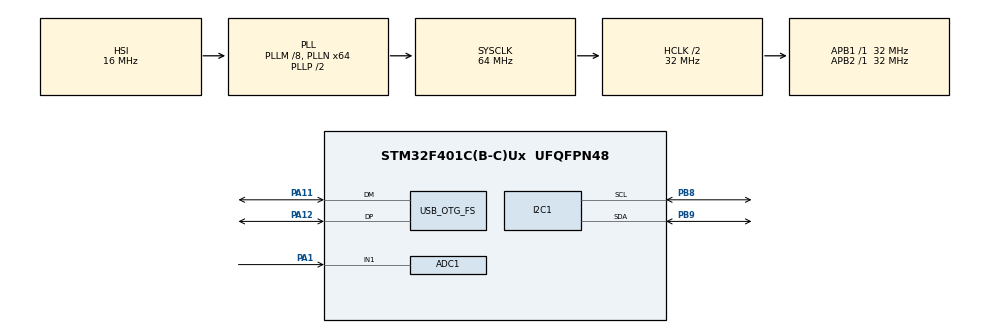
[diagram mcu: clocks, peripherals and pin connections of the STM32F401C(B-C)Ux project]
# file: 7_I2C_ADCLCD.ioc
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ADC1.Channel-0\#ChannelRegularConversion=ADC_CHANNEL_1
ADC1.NbrOfConversionFlag=1
ADC1.Rank-0\#ChannelRegularConversion=1
ADC1.SamplingTime-0\#ChannelRegularConversion=ADC_SAMPLETIME_3CYCLES
ADC1.master=1
Mcu.Family=STM32F4
Mcu.Name=STM32F401C(B-C)Ux
Mcu.Package=UFQFPN48
NVIC.OTG_FS_IRQn=true\:0\:0\:false\:false\:true\:false\:true
NVIC.PriorityGroup=NVIC_PRIORITYGROUP_4
PA1.Signal=ADCx_IN1
PA11.Mode=Device_Only
PA11.Signal=USB_OTG_FS_DM
PA12.Mode=Device_Only
PA12.Signal=USB_OTG_FS_DP
PA13.Mode=Serial_Wire
PA13.Signal=SYS_JTMS-SWDIO
PA14.Mode=Serial_Wire
PA14.Signal=SYS_JTCK-SWCLK
PB8.Mode=I2C
PB8.Signal=I2C1_SCL
PB9.Mode=I2C
PB9.Signal=I2C1_SDA
PH0\ -\ OSC_IN.Mode=HSE-External-Oscillator
PH0\ -\ OSC_IN.Signal=RCC_OSC_IN
PH1\ -\ OSC_OUT.Mode=HSE-External-Oscillator
PH1\ -\ OSC_OUT.Signal=RCC_OSC_OUT
ProjectManager.HeapSize=0x200
ProjectManager.StackSize=0x400
ProjectManager.TargetToolchain=STM32CubeIDE
RCC.48MHZClocksFreq_Value=32000000
RCC.AHBCLKDivider=RCC_SYSCLK_DIV2
RCC.AHBFreq_Value=32000000
RCC.APB1Freq_Value=32000000
RCC.APB1TimFreq_Value=32000000
RCC.APB2Freq_Value=32000000
RCC.APB2TimFreq_Value=32000000
RCC.CortexFreq_Value=32000000
RCC.HCLKFreq_Value=32000000
RCC.HSE_VALUE=25000000
RCC.HSI_VALUE=16000000
RCC.LSE_VALUE=32768
RCC.PLLM=8
RCC.PLLN=64
RCC.PLLSourceVirtualString=RCC_PLLSOURCE_HSI
RCC.SYSCLKFreq_VALUE=64000000
RCC.SYSCLKSource=RCC_SYSCLKSOURCE_PLLCLK
RCC.VCOOutputFreq_Value=128000000
SH.ADCx_IN1.0=ADC1_IN1,IN1
USB_DEVICE.CLASS_NAME_FS=CDC
USB_DEVICE.VirtualMode=Cdc
USB_DEVICE.VirtualModeFS=Cdc_FS
USB_OTG_FS.VirtualMode=Device_Only
VP_ADC1_TempSens_Input.Mode=IN-TempSens
VP_USB_DEVICE_VS_USB_DEVICE_CDC_FS.Mode=CDC_FS
board=custom

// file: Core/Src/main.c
/* USER CODE BEGIN Header */
/**
  ******************************************************************************
  * @file           : main.c
  * @brief          : Main program body
  ******************************************************************************
  * @attention
  *
  * Copyright (c) 2022 STMicroelectronics.
  * All rights reserved.
  *
  * This software is licensed under terms that can be found in the LICENSE file
  * in the root directory of this software component.
  * If no LICENSE file comes with this software, it is provided AS-IS.
  *
  ******************************************************************************
  */
/* USER CODE END Header */
#include "main.h"
#include "adc.h"
#include "i2c.h"
#include "usb_device.h"
#include "gpio.h"

/* USER CODE BEGIN Includes */
#include "liquidcrystal_i2c.h"
#include <stdlib.h>
/* USER CODE END Includes */

/* USER CODE BEGIN PV */
char MSG[20];
uint16_t rawValue;
float Temp;
char strTemp[4] = {0, };
uint8_t sFlag = RESET;
int oldLen = 0;
/* USER CODE END PV */

void SystemClock_Config(void);

/* USER CODE BEGIN 0 */
void HAL_IncTick(void)
{
	uwTick += uwTickFreq;

	if ((uwTick % 1000) == 0) {
		sFlag = SET;
	}
}
/* USER CODE END 0 */

int main(void)
{

  /* MCU Configuration--------------------------------------------------------*/

  /* Reset of all peripherals, Initializes the Flash interface and the Systick. */
  HAL_Init();

  /* Configure the system clock */
  SystemClock_Config();

  /* Initialize all configured peripherals */
  MX_GPIO_Init();
  MX_ADC1_Init();
  MX_I2C1_Init();
  MX_USB_DEVICE_Init();
  /* USER CODE BEGIN 2 */
  LCD_Init();

  LCD_SetCursor(0, 0);
  /* USER CODE END 2 */

  /* Infinite loop */
  /* USER CODE BEGIN WHILE */
  while (1)
  {
	  HAL_ADC_Start(&hadc1);
	  HAL_ADC_PollForConversion(&hadc1, HAL_MAX_DELAY);

	  rawValue = HAL_ADC_GetValue(&hadc1);
	  Temp = (float)rawValue / 4095 * 3300;
	  Temp = ((Temp - 760.0) / 2.5) + 25;
	  itoa((int)Temp, strTemp, 10);
	  if (strlen(strTemp) == 3 && oldLen != strlen(strTemp)) LCD_Clear();
	  LCD_Puts(0, 0, strTemp);
	  oldLen = strlen(strTemp);
	  HAL_Delay(100);

	  if (sFlag) {
		  sFlag = RESET;
		  while (CDC_Transmit_FS((uint8_t *)MSG, strlen(MSG)) == USBD_OK) {}
	  }
    /* USER CODE END WHILE */

    /* USER CODE BEGIN 3 */
	  __NOP();
  }
  /* USER CODE END 3 */
}

void SystemClock_Config(void)
{
  RCC_OscInitTypeDef RCC_OscInitStruct = {0};
  RCC_ClkInitTypeDef RCC_ClkInitStruct = {0};

  /** Configure the main internal regulator output voltage
  */
  __HAL_RCC_PWR_CLK_ENABLE();
  __HAL_PWR_VOLTAGESCALING_CONFIG(PWR_REGULATOR_VOLTAGE_SCALE2);
  /** Initializes the RCC Oscillators according to the specified parameters
  * in the RCC_OscInitTypeDef structure.
  */
  RCC_OscInitStruct.OscillatorType = RCC_OSCILLATORTYPE_HSI;
  RCC_OscInitStruct.HSIState = RCC_HSI_ON;
  RCC_OscInitStruct.HSICalibrationValue = RCC_HSICALIBRATION_DEFAULT;
  RCC_OscInitStruct.PLL.PLLState = RCC_PLL_ON;
  RCC_OscInitStruct.PLL.PLLSource = RCC_PLLSOURCE_HSI;
  RCC_OscInitStruct.PLL.PLLM = 8;
  RCC_OscInitStruct.PLL.PLLN = 64;
  RCC_OscInitStruct.PLL.PLLP = RCC_PLLP_DIV2;
  RCC_OscInitStruct.PLL.PLLQ = 4;
  if (HAL_RCC_OscConfig(&RCC_OscInitStruct) != HAL_OK)
  {
    Error_Handler();
  }
  /** Initializes the CPU, AHB and APB buses clocks
  */
  RCC_ClkInitStruct.ClockType = RCC_CLOCKTYPE_HCLK|RCC_CLOCKTYPE_SYSCLK
                              |RCC_CLOCKTYPE_PCLK1|RCC_CLOCKTYPE_PCLK2;
  RCC_ClkInitStruct.SYSCLKSource = RCC_SYSCLKSOURCE_PLLCLK;
  RCC_ClkInitStruct.AHBCLKDivider = RCC_SYSCLK_DIV2;
  RCC_ClkInitStruct.APB1CLKDivider = RCC_HCLK_DIV1;
  RCC_ClkInitStruct.APB2CLKDivider = RCC_HCLK_DIV1;

  if (HAL_RCC_ClockConfig(&RCC_ClkInitStruct, FLASH_LATENCY_1) != HAL_OK)
  {
    Error_Handler();
  }
}

void Error_Handler(void)
{
  __disable_irq();
  while (1)
  {
  }
}
